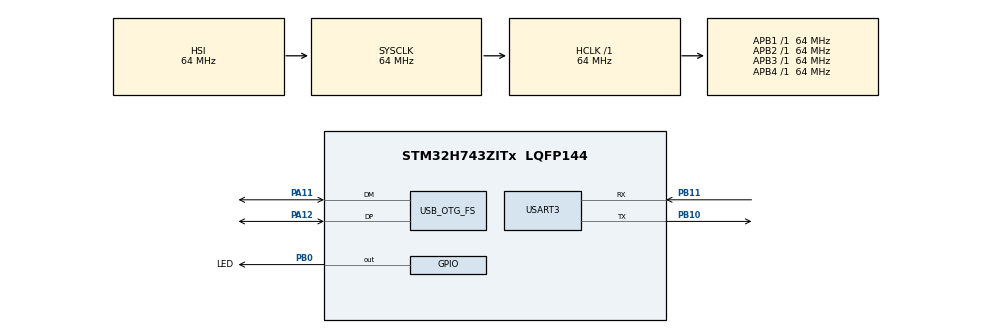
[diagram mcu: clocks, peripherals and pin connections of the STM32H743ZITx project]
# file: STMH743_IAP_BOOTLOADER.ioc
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Mcu.Family=STM32H7
Mcu.Name=STM32H743ZITx
Mcu.Package=LQFP144
NVIC.OTG_FS_IRQn=true\:0\:0\:false\:false\:true\:false\:true
NVIC.PriorityGroup=NVIC_PRIORITYGROUP_4
PA11.Mode=Device_Only
PA11.Signal=USB_OTG_FS_DM
PA12.Mode=Device_Only
PA12.Signal=USB_OTG_FS_DP
PB0.GPIO_Label=LED
PB0.Signal=GPIO_Output
PB10.Mode=Asynchronous
PB10.Signal=USART3_TX
PB11.Mode=Asynchronous
PB11.Signal=USART3_RX
ProjectManager.HeapSize=0x200
ProjectManager.StackSize=0x400
ProjectManager.TargetToolchain=STM32CubeIDE
RCC.ADCFreq_Value=129000000
RCC.APB1Freq_Value=64000000
RCC.APB2Freq_Value=64000000
RCC.APB3Freq_Value=64000000
RCC.APB4Freq_Value=64000000
RCC.CortexFreq_Value=64000000
RCC.HCLKFreq_Value=64000000
RCC.SYSCLKFreq_VALUE=64000000
RCC.USBCLockSelection=RCC_USBCLKSOURCE_HSI48
RCC.USBFreq_Value=48000000
USART3.VirtualMode-Asynchronous=VM_ASYNC
USB_DEVICE.APP_RX_DATA_SIZE-CDC_FS=2048
USB_DEVICE.CLASS_NAME_FS=CDC
USB_DEVICE.USBD_MAX_STR_DESC_SIZ-CDC_FS=512
USB_DEVICE.VirtualMode-CDC_FS=Cdc
USB_DEVICE.VirtualModeFS=Cdc_FS
USB_OTG_FS.VirtualMode=Device_Only
VP_USB_DEVICE_VS_USB_DEVICE_CDC_FS.Mode=CDC_FS
board=custom

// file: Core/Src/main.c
/* USER CODE BEGIN Header */
/**
  ******************************************************************************
  * @file           : main.c
  * @brief          : Main program body
  ******************************************************************************
  * @attention
  *
  * <h2><center>&copy; Copyright (c) 2020 STMicroelectronics.
  * All rights reserved.</center></h2>
  *
  * This software component is licensed by ST under BSD 3-Clause license,
  * the "License"; You may not use this file except in compliance with the
  * License. You may obtain a copy of the License at:
  *                        opensource.org/licenses/BSD-3-Clause
  *
  ******************************************************************************
  */
/* USER CODE END Header */
#include "main.h"
#include "usb_device.h"

/* USER CODE BEGIN PM */
#define	ADDRESS_TO_READ 	0x8125800
#define	POINTER_METHOD		1
#undef	ARRAY_METHOD
/* USER CODE END PM */

UART_HandleTypeDef huart3;

/* USER CODE BEGIN PV */

//__attribute__((__section__(".rodata")))  const char version[20];
//__attribute__((__section__(".rodata"))) const uint8_t userConfig[64];
uint8_t someData[64] = "V3.1";

//uint8_t userConfig[0] __attribute__ ((section(".user_data"))) = "V";
char versionNumber[15];
char read_data[15];
uint8_t versionStatus;
status otaStatus;
uint8_t *ptr = NULL;
uint8_t *versionNo = NULL;
uint32_t address;
uint16_t read_cnt=0;
extern uint32_t _user_data_start;
extern uint32_t _user_data_end;
uint8_t ConfArray[16];
uint32_t TestArray[2];
uint8_t i;
/* USER CODE END PV */

void SystemClock_Config(void);
static void MX_GPIO_Init(void);
static void MX_USART3_UART_Init(void);
/* USER CODE BEGIN PFP */
void FLASH_If_Write(uint32_t* flash_addr ,uint32_t *data,uint32_t data_length)
{
	/* Unlock the Flash to enable the flash control register access *************/
	HAL_FLASH_Unlock();

	HAL_FLASH_OB_Unlock();

	volatile uint32_t write_cnt=0, index=0;

	volatile HAL_StatusTypeDef status;
	status = HAL_OK;
	while(index < data_length)
	{
		if (status == HAL_OK)
		{
			//memset(data,0xAA55AA55,32);
			status = HAL_FLASH_Program(FLASH_TYPEPROGRAM_FLASHWORD, (*flash_addr), (uint32_t )data);
			if(status == HAL_OK)
			{
				*flash_addr = (*flash_addr)+32;//Destination address
				data = data+8;                      //Source address
				index+=32;
			}
		}
	}
	HAL_FLASH_OB_Lock();
	HAL_FLASH_Lock();
}

/* USER CODE END PFP */

/* USER CODE BEGIN 0 */

/**
 * @brief  Get the Version number saved at 0x814 0000 of Flash memory
 * @param  None
 * @retval None
 */
status Version_Check(void)
{
#if	ARRAY_METHOD
	do
	{
		 read_data[read_cnt] = *(uint8_t*)(ADDRESS_TO_READ + read_cnt);
		 read_cnt++;
	}while(read_cnt <13);
	memcpy(&versionNumber, &read_data , 13);
#endif
#if POINTER_METHOD
	ptr = (uint8_t*)ADDRESS_TO_READ;
	for(int j = 0; j < 14; j++)
	{
		versionNumber[j] = (char)ptr[j];
	}
#endif
	if(strcmp(versionNumber, "MukPizzza-2.2") == 0)
	{
		return pass;
	}
	else
	{
		return fail;
	}
//	strncpy(&versionNumber, (const char *)&ptr, 13);
//	memcpy(&versionNo, &ptr , 13);
}
/* USER CODE END 0 */

int main(void)
{

  /* MCU Configuration--------------------------------------------------------*/

  /* Reset of all peripherals, Initializes the Flash interface and the Systick. */
  HAL_Init();
 // jump_to_User_application();

  /* Configure the system clock */
  SystemClock_Config();

  /* Initialize all configured peripherals */
  MX_GPIO_Init();
  MX_USART3_UART_Init();
  /* USER CODE BEGIN 2 */

  for(int j = 0; j < 8; j++)
  {
	  HAL_GPIO_TogglePin(LED_GPIO_Port, LED_Pin);
	  HAL_Delay(200);
  }

//  defaultFlashWrite();
//  HAL_Delay(1000);
  otaStatus = Version_Check();
  /*while(1)
  {
	  Version_Check();
	  HAL_Delay(5000);
  }*/
  MX_USB_DEVICE_Init();
//  HAL_Delay(500);
  Main_Menu();
  /* USER CODE END 2 */

  /* Infinite loop */
  while (1)
  {

    /* USER CODE BEGIN 3 */
//	  HAL_GPIO_TogglePin(LED_GPIO_Port, LED_Pin);
//	  HAL_Delay(1000);
  }
  /* USER CODE END 3 */
}

void SystemClock_Config(void)
{
  RCC_OscInitTypeDef RCC_OscInitStruct = {0};
  RCC_ClkInitTypeDef RCC_ClkInitStruct = {0};
  RCC_PeriphCLKInitTypeDef PeriphClkInitStruct = {0};

  /** Supply configuration update enable
  */
  HAL_PWREx_ConfigSupply(PWR_LDO_SUPPLY);
  /** Configure the main internal regulator output voltage
  */
  __HAL_PWR_VOLTAGESCALING_CONFIG(PWR_REGULATOR_VOLTAGE_SCALE3);

  while(!__HAL_PWR_GET_FLAG(PWR_FLAG_VOSRDY)) {}
  /** Initializes the RCC Oscillators according to the specified parameters
  * in the RCC_OscInitTypeDef structure.
  */
  RCC_OscInitStruct.OscillatorType = RCC_OSCILLATORTYPE_HSI48|RCC_OSCILLATORTYPE_HSI;
  RCC_OscInitStruct.HSIState = RCC_HSI_DIV1;
  RCC_OscInitStruct.HSICalibrationValue = RCC_HSICALIBRATION_DEFAULT;
  RCC_OscInitStruct.HSI48State = RCC_HSI48_ON;
  RCC_OscInitStruct.PLL.PLLState = RCC_PLL_NONE;
  if (HAL_RCC_OscConfig(&RCC_OscInitStruct) != HAL_OK)
  {
    Error_Handler();
  }
  /** Initializes the CPU, AHB and APB buses clocks
  */
  RCC_ClkInitStruct.ClockType = RCC_CLOCKTYPE_HCLK|RCC_CLOCKTYPE_SYSCLK
                              |RCC_CLOCKTYPE_PCLK1|RCC_CLOCKTYPE_PCLK2
                              |RCC_CLOCKTYPE_D3PCLK1|RCC_CLOCKTYPE_D1PCLK1;
  RCC_ClkInitStruct.SYSCLKSource = RCC_SYSCLKSOURCE_HSI;
  RCC_ClkInitStruct.SYSCLKDivider = RCC_SYSCLK_DIV1;
  RCC_ClkInitStruct.AHBCLKDivider = RCC_HCLK_DIV1;
  RCC_ClkInitStruct.APB3CLKDivider = RCC_APB3_DIV1;
  RCC_ClkInitStruct.APB1CLKDivider = RCC_APB1_DIV1;
  RCC_ClkInitStruct.APB2CLKDivider = RCC_APB2_DIV1;
  RCC_ClkInitStruct.APB4CLKDivider = RCC_APB4_DIV1;

  if (HAL_RCC_ClockConfig(&RCC_ClkInitStruct, FLASH_LATENCY_0) != HAL_OK)
  {
    Error_Handler();
  }
  PeriphClkInitStruct.PeriphClockSelection = RCC_PERIPHCLK_USART3|RCC_PERIPHCLK_USB;
  PeriphClkInitStruct.Usart234578ClockSelection = RCC_USART234578CLKSOURCE_D2PCLK1;
  PeriphClkInitStruct.UsbClockSelection = RCC_USBCLKSOURCE_HSI48;
  if (HAL_RCCEx_PeriphCLKConfig(&PeriphClkInitStruct) != HAL_OK)
  {
    Error_Handler();
  }
  /** Enable USB Voltage detector
  */
  HAL_PWREx_EnableUSBVoltageDetector();
}

static void MX_USART3_UART_Init(void)
{

  huart3.Instance = USART3;
  huart3.Init.BaudRate = 115200;
  huart3.Init.WordLength = UART_WORDLENGTH_8B;
  huart3.Init.StopBits = UART_STOPBITS_1;
  huart3.Init.Parity = UART_PARITY_NONE;
  huart3.Init.Mode = UART_MODE_TX_RX;
  huart3.Init.HwFlowCtl = UART_HWCONTROL_NONE;
  huart3.Init.OverSampling = UART_OVERSAMPLING_16;
  huart3.Init.OneBitSampling = UART_ONE_BIT_SAMPLE_DISABLE;
  huart3.Init.ClockPrescaler = UART_PRESCALER_DIV1;
  huart3.AdvancedInit.AdvFeatureInit = UART_ADVFEATURE_NO_INIT;
  if (HAL_UART_Init(&huart3) != HAL_OK)
  {
    Error_Handler();
  }
  if (HAL_UARTEx_SetTxFifoThreshold(&huart3, UART_TXFIFO_THRESHOLD_1_8) != HAL_OK)
  {
    Error_Handler();
  }
  if (HAL_UARTEx_SetRxFifoThreshold(&huart3, UART_RXFIFO_THRESHOLD_1_8) != HAL_OK)
  {
    Error_Handler();
  }
  if (HAL_UARTEx_DisableFifoMode(&huart3) != HAL_OK)
  {
    Error_Handler();
  }

}

static void MX_GPIO_Init(void)
{
  GPIO_InitTypeDef GPIO_InitStruct = {0};

  /* GPIO Ports Clock Enable */
  __HAL_RCC_GPIOB_CLK_ENABLE();
  __HAL_RCC_GPIOA_CLK_ENABLE();
  __HAL_RCC_GPIOC_CLK_ENABLE();
  __HAL_RCC_GPIOD_CLK_ENABLE();

  /*Configure GPIO pin Output Level */
  HAL_GPIO_WritePin(LED_GPIO_Port, LED_Pin, GPIO_PIN_RESET);

  /*Configure GPIO pin : LED_Pin */
  GPIO_InitStruct.Pin = LED_Pin;
  GPIO_InitStruct.Mode = GPIO_MODE_OUTPUT_PP;
  GPIO_InitStruct.Pull = GPIO_NOPULL;
  GPIO_InitStruct.Speed = GPIO_SPEED_FREQ_LOW;
  HAL_GPIO_Init(LED_GPIO_Port, &GPIO_InitStruct);

}

void Error_Handler(void)
{
}

/************************ (C) COPYRIGHT STMicroelectronics *****END OF FILE****/
